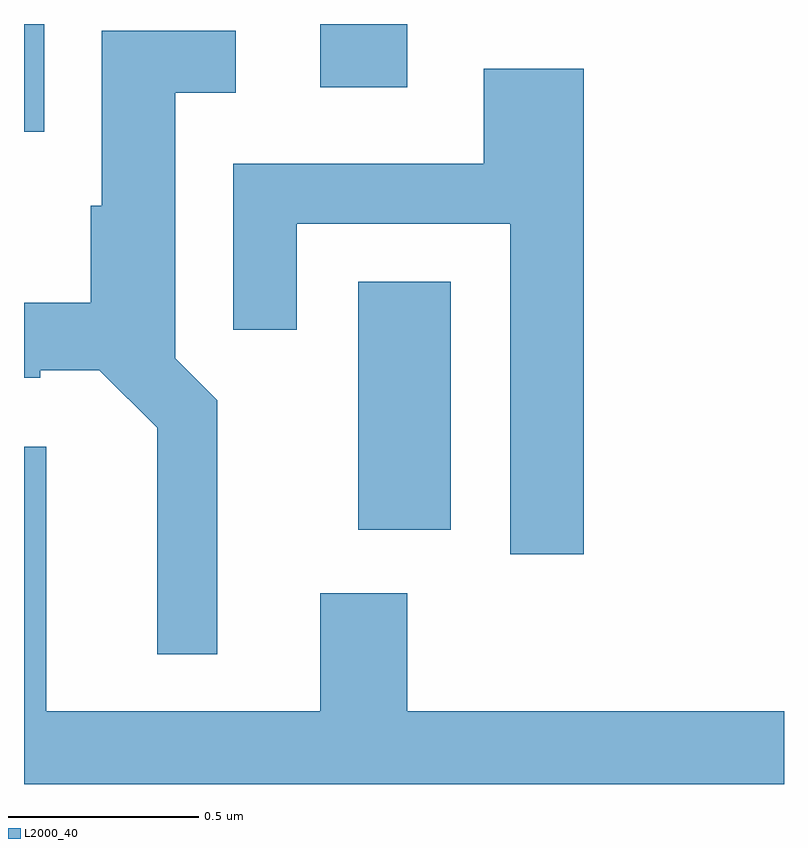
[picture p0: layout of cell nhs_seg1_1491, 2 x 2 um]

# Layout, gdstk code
import gdstk
lib = gdstk.Library(unit=1e-6, precision=1e-09)
def R(c, l, rs):  # rectangles x0, y0, x1, y1
    for r in rs: c.add(gdstk.rectangle(r[:2], r[2:], *l))
def P(c, l, *ps):  # polygons
    for p in ps: c.add(gdstk.Polygon(p, *l))
L2000_40 = (2000, 40)

nhs_seg1_1491 = lib.new_cell('nhs_seg1_1491')
R(nhs_seg1_1491, L2000_40, [(197.491,840.381,197.734,841.034), (196.611,841.428,196.664,841.712), (197.391,841.546,197.619,841.712)])
P(nhs_seg1_1491, L2000_40, [(197.119,840.722),(197.009,840.832),(197.009,841.531),(197.168,841.531),(197.168,841.694),(196.816,841.694),(196.816,841.234),(196.786,841.234),(196.786,840.979),(196.611,840.979),(196.611,840.781),(196.654,840.781),(196.654,840.801),(196.809,840.801),(196.961,840.649),(196.961,840.053),(197.119,840.053)],
  [(198.084,841.594),(197.821,841.594),(197.821,841.344),(197.161,841.344),(197.161,840.908),(197.329,840.908),(197.329,841.186),(197.891,841.186),(197.891,840.316),(198.084,840.316)],
  [(198.611,839.904),(197.619,839.904),(197.619,840.214),(197.391,840.214),(197.391,839.904),(196.669,839.904),(196.669,840.599),(196.611,840.599),(196.611,839.712),(198.611,839.712)])

lib.write_gds('nhs_seg1_1491.gds')
